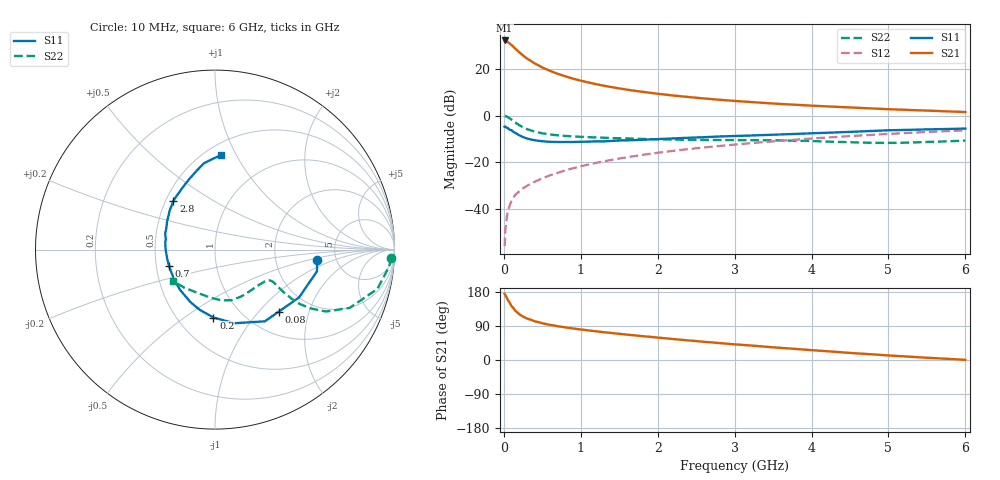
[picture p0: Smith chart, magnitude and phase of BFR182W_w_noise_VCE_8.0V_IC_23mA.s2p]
! Infineon Technologies  Discrete & RF Semiconductors
! BFR182W
! VCE =  8.0 V,  IC =  23 mA
! Common Emitter S-Parameters:  Jan 2017
# GHz  S  MA  R  50
!  f  S11  S21  S12  S22
! GHz  MAG  ANG  MAG  ANG  MAG  ANG  MAG  ANG
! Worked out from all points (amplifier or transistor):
!   77 points, 10 MHz to 6 GHz, reference 50 ohm
!   highest |S21| = 32.1 dB at 10 MHz (marker M1)
!   |S21| within 3 dB of that: start of sweep to 133.4 MHz
!   unconditionally stable (mu >= 1): 807.4 MHz to 2.317 GHz
!   at 130 MHz: K = 0.45, MSG = 32.0 dB, |S12| = -34.8 dB
!   at 2.2 GHz: K = 1.01, MAG = 11.3 dB, |S12| = -15.1 dB
!   at 6 GHz: K = 0.86, MSG = 3.9 dB, |S12| = -6.3 dB
!   lowest NFmin = 1.50 dB at 450 MHz
!   S11 on the Smith chart (normalised r, x): 10 MHz: 3.57, -0.60; 80 MHz: 1.40, -1.29; 200 MHz: 0.74, -0.65; 700 MHz: 0.58, -0.11; 2.8 GHz: 0.55, +0.34; 6 GHz: 0.60, +0.86
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0.01  0.5727 -5.7  40.44 174.7  0.0016 89.2  0.9838 -2.6
0.02  0.5809 -12.0  40.42 170.9  0.0036 100.9  0.9739 -5.7
0.05  0.5389 -29.7  37.81 159.0  0.0086 75.2  0.9308 -13.6
0.08  0.4953 -44.4  34.19 149.5  0.0124 73.3  0.86 -19.2
0.1  0.4866 -55.2  32.39 142.2  0.0149 72.5  0.8179 -23.4
0.14  0.4318 -70.9  27.95 132.7  0.0191 67.2  0.7289 -27.9
0.15  0.4239 -75.4  26.99 129.9  0.0202 66.2  0.7074 -29.2
0.2  0.3785 -91.3  22.6 121.1  0.0238 66.1  0.6223 -31.7
0.25  0.346 -104.3  19.28 114.3  0.0277 64.4  0.5597 -32.7
0.3  0.3232 -115.0  16.64 109.5  0.0312 66.0  0.5119 -32.7
0.4  0.297 -131.1  13.07 102.2  0.0381 67.4  0.452 -31.9
0.5  0.2817 -143.4  10.68 97.0  0.0452 69.0  0.4161 -30.8
0.7  0.2713 -160.7  7.811 89.2  0.0592 70.6  0.3772 -29.3
0.9  0.2714 -173.4  6.151 83.1  0.0744 71.3  0.3574 -29.1
1.1  0.2766 176.4  5.097 78.1  0.0895 71.7  0.345 -29.9
1.5  0.2921 161.7  3.802 69.1  0.12 70.4  0.3265 -33.6
2.1  0.3182 145.1  2.804 57.3  0.1674 67.2  0.308 -43.3
2.8  0.356 130.6  2.176 44.7  0.223 62.5  0.2994 -58.1
3.1  0.369 125.0  2.001 39.9  0.2471 60.1  0.2973 -64.3
4.1  0.4222 109.1  1.599 24.6  0.3299 51.7  0.2808 -85.1
5.1  0.4876 96.3  1.347 10.8  0.4117 42.2  0.2606 -115.4
6  0.5259 86.6  1.189 0.4  0.4821 33.2  0.2917 -142.8
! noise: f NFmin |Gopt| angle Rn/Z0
0.45  1.5  0.14  -170  0.15
0.9  1.58  0.16  -165  0.16
1.9  2.1  0.31  -139  0.17
2.4  2.38  0.32  -127  0.27
